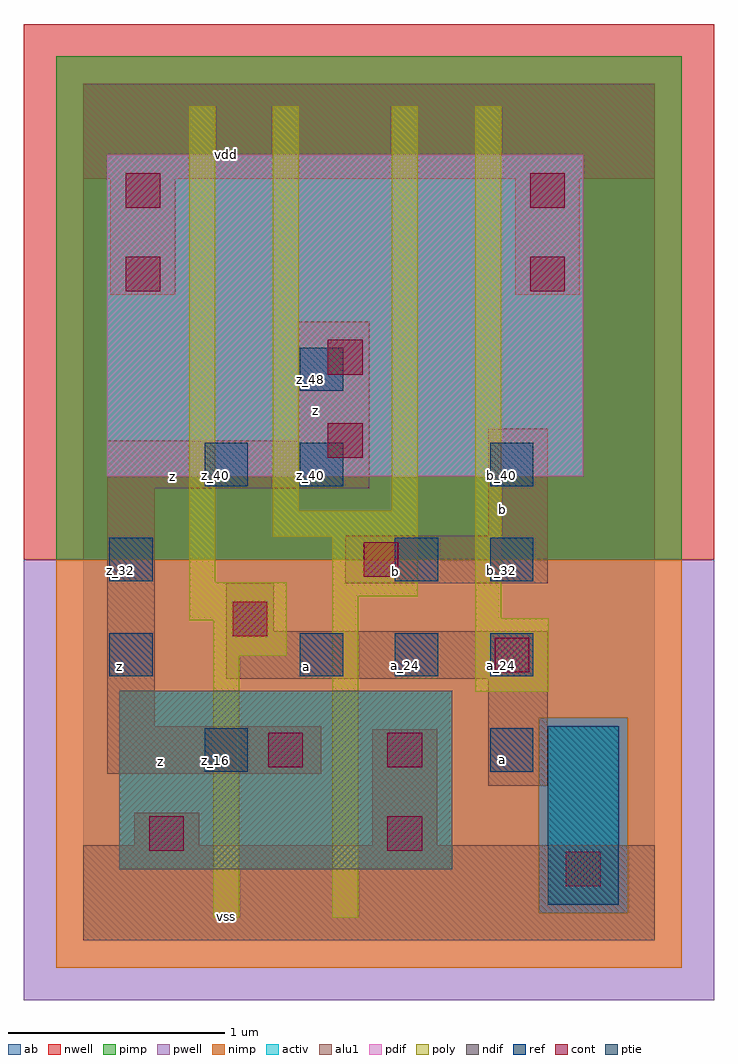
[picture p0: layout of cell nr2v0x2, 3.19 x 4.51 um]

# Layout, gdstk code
import gdstk
lib = gdstk.Library(unit=1e-6, precision=2.5e-09)
def R(c, l, rs):  # rectangles x0, y0, x1, y1
    for r in rs: c.add(gdstk.rectangle(r[:2], r[2:], *l))
def A(c, l, x, y, w, h, nx, ny, dx, dy):  # array of equal rectangles
    R(c, l, [(x+i*dx, y+j*dy, x+i*dx+w, y+j*dy+h) for i in range(nx) for j in range(ny)])
ndif = (3, 0)
pdif = (4, 0)
ptie = (6, 0)
ref = (24, 0)
cont = (25, 0)
pwell = (41, 0)
nwell = (42, 0)
activ = (43, 0)
pimp = (44, 0)
nimp = (45, 0)
poly = (46, 0)
alu1 = (49, 0)
ab = (63, 0)

nr2v0x2 = lib.new_cell('nr2v0x2')
R(nr2v0x2, ndif, [(0.165,0.33,1.705,1.155)])
R(nr2v0x2, pdif, [(0.11,2.145,2.31,3.63)])
R(nr2v0x2, ptie, [(2.145,0.165,2.475,0.99)])
A(nr2v0x2, ref, 1, 1.22, 0.2, 0.2, 3, 1, 0.44, 0)
R(nr2v0x2, ref, [(0.56,0.78,0.76,0.98), (1.88,0.78,2.08,0.98), (0.12,1.22,0.32,1.42), (0.12,1.66,0.32,1.86), (1.44,1.66,1.64,1.86), (1.88,1.66,2.08,1.86), (0.56,2.1,0.76,2.3), (1,2.1,1.2,2.3), (1.88,2.1,2.08,2.3), (1,2.54,1.2,2.74)])
R(nr2v0x2, cont, [(2.23,0.25,2.39,0.41), (0.305,0.415,0.465,0.575), (1.405,0.415,1.565,0.575), (0.855,0.8,1.015,0.96), (1.405,0.8,1.565,0.96), (1.9,1.24,2.06,1.4), (0.69,1.405,0.85,1.565), (1.295,1.68,1.455,1.84), (1.13,2.23,1.29,2.39), (1.13,2.615,1.29,2.775), (0.195,3,0.355,3.16), (2.065,3,2.225,3.16), (0.195,3.385,0.355,3.545), (2.065,3.385,2.225,3.545)])
R(nr2v0x2, pwell, [(-0.275,-0.275,2.915,1.76)])
R(nr2v0x2, nwell, [(-0.275,1.76,2.915,4.235)])
R(nr2v0x2, activ, [(2.145,0.165,2.475,0.99), (0.165,0.33,1.705,1.155), (0.11,2.145,2.31,3.63)])
R(nr2v0x2, pimp, [(2.105,0.125,2.515,1.03), (-0.125,1.76,2.765,4.085)])
R(nr2v0x2, nimp, [(-0.125,-0.125,2.765,0.125), (-0.125,0.125,2.105,1.03), (2.515,0.125,2.765,1.03), (-0.125,1.03,2.765,1.76)])
R(nr2v0x2, poly, [(0.6,0.105,0.72,1.315), (1.15,0.105,1.27,1.59), (1.81,1.15,2.15,1.49), (0.6,1.315,0.94,1.48), (0.49,1.48,0.94,1.655), (1.81,1.49,1.93,3.855), (1.15,1.59,1.545,1.865), (0.49,1.655,0.61,3.855), (0.875,1.865,1.545,1.985), (0.875,1.985,0.995,3.855), (1.425,1.985,1.545,3.855)])
R(nr2v0x2, alu1, [(0,0,2.64,0.44), (0.235,0.44,0.535,0.59), (1.335,0.44,1.635,0.975), (1.87,0.715,2.145,1.21), (0.11,0.77,1.1,0.99), (0.11,0.99,0.33,2.09), (0.66,1.21,2.145,1.43), (0.66,1.43,0.88,1.65), (1.21,1.65,2.145,1.87), (1.87,1.87,2.145,2.365), (0.11,2.09,1.32,2.31), (0.99,2.31,1.32,2.86), (0.125,2.985,0.425,3.52), (1.995,2.985,2.295,3.52), (0,3.52,2.64,3.96)])
R(nr2v0x2, ab, [(0,0,2.64,3.96)])
nr2v0x2.add(gdstk.Label('vss', (0.66,0.11), layer=49, texttype=0))
nr2v0x2.add(gdstk.Label('a', (1.9375,0.8375), layer=49, texttype=0))
nr2v0x2.add(gdstk.Label('z', (0.3575,0.825), layer=49, texttype=0))
nr2v0x2.add(gdstk.Label('a', (1.03,1.265), layer=49, texttype=0))
nr2v0x2.add(gdstk.Label('b', (1.4425,1.705), layer=49, texttype=0))
nr2v0x2.add(gdstk.Label('b', (1.9375,1.9925), layer=49, texttype=0))
nr2v0x2.add(gdstk.Label('z', (0.165,1.265), layer=49, texttype=0))
nr2v0x2.add(gdstk.Label('z', (0.4125,2.145), layer=49, texttype=0))
nr2v0x2.add(gdstk.Label('z', (1.0725,2.4475), layer=49, texttype=0))
nr2v0x2.add(gdstk.Label('vdd', (0.66,3.63), layer=49, texttype=0))
nr2v0x2.add(gdstk.Label('z_16', (0.61,0.83), layer=24, texttype=0))
nr2v0x2.add(gdstk.Label('z_40', (0.61,2.15), layer=24, texttype=0))
nr2v0x2.add(gdstk.Label('a_24', (1.05,1.27), layer=24, texttype=0))
nr2v0x2.add(gdstk.Label('z_40', (1.05,2.15), layer=24, texttype=0))
nr2v0x2.add(gdstk.Label('z_48', (1.05,2.59), layer=24, texttype=0))
nr2v0x2.add(gdstk.Label('a_24', (1.49,1.27), layer=24, texttype=0))
nr2v0x2.add(gdstk.Label('b_32', (1.49,1.71), layer=24, texttype=0))
nr2v0x2.add(gdstk.Label('a_16', (1.93,0.83), layer=24, texttype=0))
nr2v0x2.add(gdstk.Label('a_24', (1.93,1.27), layer=24, texttype=0))
nr2v0x2.add(gdstk.Label('b_32', (1.93,1.71), layer=24, texttype=0))
nr2v0x2.add(gdstk.Label('b_40', (1.93,2.15), layer=24, texttype=0))
nr2v0x2.add(gdstk.Label('z_24', (0.17,1.27), layer=24, texttype=0))
nr2v0x2.add(gdstk.Label('z_32', (0.17,1.71), layer=24, texttype=0))

lib.write_gds('nr2v0x2.gds')
